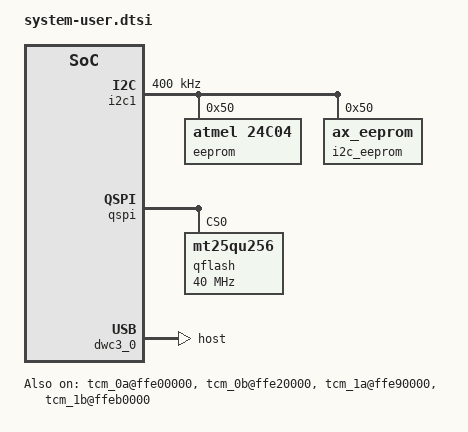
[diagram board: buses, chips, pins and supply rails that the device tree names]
/include/ "system-conf.dtsi"
/include/ "boxfilter.dtsi"
/ {
    chosen {
        bootargs = "uio_pdrv_genirq.of_id=generic-uio clk_ignore_unused root=/dev/mmcblk0p2 rw rootwait cma=512M";
    };
};

/ {
        dp_clk:psgtr_dp_clock {
                compatible = "fixed-clock";
                #clock-cells = <0x00>;
                clock-frequency = <27000000>;
        };

	usb_clk:psgtr_usb_clock {
                compatible = "fixed-clock";
		#clock-cells = <0x00>;
                clock-frequency = <26000000>;
	};
	
        sata_clk:psgtr_sata_clock {
                compatible = "fixed-clock";
                #clock-cells = <0x00>;
                clock-frequency = <150000000>;
        };		

	reserved-memory {
		#address-cells = <2>;
		#size-cells = <2>;
		ranges;
		rproc_0_reserved: rproc@3ed00000 {
			no-map;
			reg = <0x0 0x3ed00000 0x0 0x40000>;
		};		
		rpu0vdev0vring0: rpu0vdev0vring0@3ed40000 {
			no-map;
			reg = <0x0 0x3ed40000 0x0 0x4000>;
		};
		rpu0vdev0vring1: rpu0vdev0vring1@3ed44000 {
			no-map;
			reg = <0x0 0x3ed44000 0x0 0x4000>;
		};
		rpu0vdev0buffer: rpu0vdev0buffer@3ed48000 {
			no-map;
			reg = <0x0 0x3ed48000 0x0 0x100000>;
		};

	};

	reserved-memory {
		#address-cells = <2>;
		#size-cells = <2>;
		ranges;
		rproc_1_reserved: rproc@3ef00000 {
		    no-map;
		    reg = <0x0 0x3ef00000 0x0 0x40000>;
		};
		rpu1vdev0vring0: rpu1vdev0vring0@3ef40000 {
		    no-map;
		    reg = <0x0 0x3ef40000 0x0 0x4000>;
		};
		rpu1vdev0vring1: rpu1vdev0vring1@3ef44000 {
		    no-map;
		    reg = <0x0 0x3ef44000 0x0 0x4000>;
		};
		rpu1vdev0buffer: rpu1vdev0buffer@3ef48000 {
		    no-map;
		    compatible = "shared-dma-pool";
		    reg = <0x0 0x3ef48000 0x0 0x100000>;
		};
	};
	
		
	
    	tcm_0a@ffe00000 {
		no-map;
		reg = <0x0 0xffe00000 0x0 0x10000>;
		phandle = <0x40>;
		status = "okay";
		compatible = "mmio-sram";
        	power-domain = <&zynqmp_firmware 15>;
	};

	tcm_0b@ffe20000 {
		no-map;
		reg = <0x0 0xffe20000 0x0 0x10000>;
		phandle = <0x41>;
		status = "okay";
		compatible = "mmio-sram";
        	power-domain = <&zynqmp_firmware 16>;
	};
	
    	tcm_1a@ffe90000 {
		no-map;
		reg = <0x0 0xffe90000 0x0 0x10000>;
		phandle = <0x42>;
		status = "okay";
		compatible = "mmio-sram";
		power-domain = <&zynqmp_firmware 17>;
    	};

    	tcm_1b@ffeb0000 {
		no-map;
		reg = <0x0 0xffeb0000 0x0 0x10000>;
		phandle = <0x43>;
		status = "okay";
		compatible = "mmio-sram";
		power-domain = <&zynqmp_firmware 18>;
	};
    
    

	rf5ss@ff9a0000 {
		compatible = "xlnx,zynqmp-r5-remoteproc";
		xlnx,cluster-mode = <0x1>;
		ranges;
		reg = <0x0 0xFF9A0000 0x0 0x10000>;
		#address-cells = <0x2>;
		#size-cells = <0x2>;

		r5f_1: r5f@1 {                                                                 
			compatible = "xilinx,r5f";                                          
			#address-cells = <2>;                                               
			#size-cells = <2>;                                                  
			ranges;                                                             
			sram = <0x42 0x43>;                                                 
			memory-region = <&rproc_1_reserved>, <&rpu1vdev0buffer>, <&rpu1vdev0vring0>, <&rpu1vdev0vring1>;
			power-domain = <&zynqmp_firmware 8>;                                               
			mboxes = <&ipi_mailbox_rpu1 0>, <&ipi_mailbox_rpu1 1>;              
			mbox-names = "tx", "rx";
			core_conf = "split1";                                            
		};

               r5f_0: r5f@0 {
                        compatible = "xilinx,r5f";
                        #address-cells = <2>;
                        #size-cells = <2>;
                        ranges;
                        sram = <0x40 0x41>;
                        memory-region = <&rproc_0_reserved>, <&rpu0vdev0buffer>, <&rpu0vdev0vring0>, <&rpu0vdev0vring1>;
                        power-domain = <&zynqmp_firmware 7>;
                        mboxes = <&ipi_mailbox_rpu0 0>, <&ipi_mailbox_rpu0 1>;
                        mbox-names = "tx", "rx";
                        core_conf = "split0";
                 };
	};	

	zynqmp_ipi1 {
		compatible = "xlnx,zynqmp-ipi-mailbox";
		interrupt-parent = <&gic>;
		interrupts = <0 29 4>;
		xlnx,ipi-id = <7>;
		#address-cells = <1>;
		#size-cells = <1>;
		ranges;

		/* APU<->RPU0 IPI mailbox controller */
		ipi_mailbox_rpu0: mailbox@ff990600 {
			reg = <0xff990600 0x20>,
			      <0xff990620 0x20>,
			      <0xff9900c0 0x20>,
			      <0xff9900e0 0x20>;
			reg-names = "local_request_region",
				    "local_response_region",
				    "remote_request_region",
				    "remote_response_region";
			#mbox-cells = <1>;
			xlnx,ipi-id = <1>;
		};
	};
	
	zynqmp_ipi2{
	
        compatible = "xlnx,zynqmp-ipi-mailbox";
        interrupt-parent = <&gic>;
        interrupts = <0 30 4>;
        xlnx,ipi-id = <8>;
        #address-cells = <1>;
        #size-cells = <1>;
        ranges;
    
		/* APU<->RPU1 IPI mailbox controller */
		ipi_mailbox_rpu1: mailbox@ff3f0b00
		{
		    reg = <0xff3f0b00 0x20>,
		    <0xff3f0b20 0x20>,
		    <0xff3f0940 0x20>,
		    <0xff3f0960 0x20>;
		    reg-names = "local_request_region",
		    "local_response_region",
		    "remote_request_region",
		    "remote_response_region";
		    #mbox-cells = <1>;
		    xlnx,ipi-id = <2>;
		};
	};
};

	&i2c1 {
		clock-frequency = <400000>;
		eeprom@50{
		        compatible = "atmel,24c04";
		        reg = <0x50>;
		        pagesize = <16>;
		};
	};

	&qspi {
		status = "okay";
		qflash: mt25qu256@0 {
			compatible = "mt25qu256";
			reg = <0>;
			spi-max-frequency = <40000000>;
			m25p,fast-read;
			};
	};
	
	&i2c1 {
		status = "okay";
		i2c_eeprom@50 {
			compatible = "ax_eeprom";
			reg = <0x50>;
		};
	};

	/* SD */
	&sdhci1 {
		disable-wp;
		no-1-8-v;
	};

	/* USB  */
	&dwc3_0 {
    		status = "okay";
    		dr_mode = "host";
	};

	&psgtr {
	      /* dp 0-1, usb0, usb1 */
	      clocks = <&sata_clk>, <&usb_clk>, <&dp_clk>;
	      clock-names = "ref0", "ref1", "ref2";
	};		
